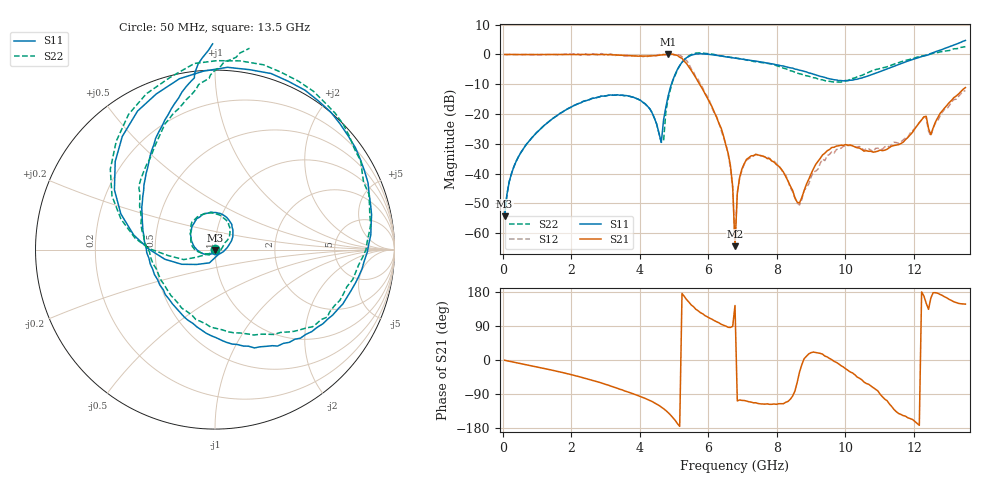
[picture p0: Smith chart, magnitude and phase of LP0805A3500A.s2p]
! AVX THIN FILM OPERATION
! 0805 Size Low Pass Filter P/N  LP0805A3500AWTR
!	Network	Analyzer	HP8720ES.07.64:	Feb	"23,"	2000	Serial	No.	US39172382
!	Hewlett-Packard
!	2	Feb	2003	05:05:16
!	Frequency	S11	S21	S12	S22
#	HZ	S	DB	R	50
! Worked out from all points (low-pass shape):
!   201 points, 50 MHz to 13.5 GHz, reference 50 ohm
!   highest |S21| = 0.11 dB at 4.825 GHz (marker M1); lowest = -64.3 dB at 6.775 GHz (marker M2)
!   |S21| within 3 dB of the highest: start of sweep to 5.347 GHz
!   lowest |S11| = -54.3 dB at 50 MHz (marker M3), VSWR 1.00, Z = 50 - j0.193 ohm
!   |S11| at or under -10 dB: start of sweep to 4.919 GHz
!   |S22| runs from -54.3 to 2.6 dB; largest |S21 - S12| = 0.095
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5e7  -54.28 -92.8  0.01 -0.7  -0.01 -1.1  -54.28 94.2
2.5175e8  -39.94 -101.1  -0.02 -4.7  -0.02 -4.6  -39.94 -107.9
6.5525e8  -30.65 -127.1  -0.03 -12.0  -0.00 -12.1  -30.65 -121.5
2.3365e9  -15.78 147.7  0.01 -46.5  0.20 -45.5  -15.78 147.7
3.9505e9  -15.03 62.2  -0.58 -94.2  -0.67 -93.4  -15.03 70.5
4.55575e9  -26.49 -14.9  -0.25 -119.9  -0.04 -119.6  -26.49 21.5
4.69025e9  -21.93 -112.8  -0.08 -128.5  0.04 -129.1  -28.99 -143.7
4.82475e9  -13.86 -156.2  0.11 -138.9  0.13 -137.3  -14.76 -162.2
5.22825e9  -2.60 138.6  -1.27 175.5  -0.75 174.8  -2.67 142.5
5.5645e9  -0.04 93.9  -6.55 140.6  -5.88 133.9  0.37 96.4
6.3715e9  -0.53 27.7  -24.73 94.2  -25.49 89.7  -0.45 31.1
6.6405e9  -0.97 12.6  -37.21 85.9  -38.10 82.0  -0.95 16.3
6.775e9  -1.19 5.5  -64.34 143.7  -62.66 175.7  -1.13 9.0
6.84225e9  -1.34 2.0  -46.64 -108.0  -46.30 -115.2  -1.27 6.4
7.11125e9  -1.80 -11.0  -35.20 -108.3  -35.52 -113.0  -1.88 -6.0
7.91825e9  -3.28 -46.1  -36.13 -116.1  -35.84 -118.3  -3.48 -40.7
8.658e9  -5.29 -76.6  -49.84 -31.9  -50.53 -45.3  -6.48 -77.4
9.0615e9  -6.58 -96.0  -38.46 20.9  -39.44 10.5  -7.80 -101.8
1.128075e10  -4.57 129.4  -31.25 -115.9  -31.06 -116.9  -3.83 122.8
1.22895e10  -0.49 98.3  -20.94 168.8  -20.95 172.6  -0.40 92.0
1.249125e10  0.34 95.1  -26.90 163.5  -27.37 173.9  0.19 88.2
1.35e10  4.70 84.3  -11.12 147.5  -12.19 159.6  2.63 74.1
